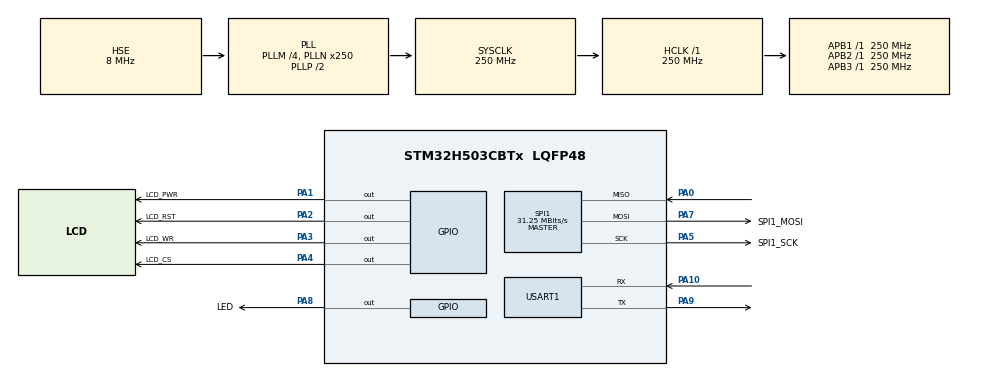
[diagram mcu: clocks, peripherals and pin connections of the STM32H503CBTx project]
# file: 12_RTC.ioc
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BOOTPATH.BootPathName=LEGACY
BOOTPATH.UserSelectedBootPath=LEGACY
Mcu.Family=STM32H5
Mcu.Name=STM32H503CBTx
Mcu.Package=LQFP48
NVIC.PriorityGroup=NVIC_PRIORITYGROUP_2
NVIC.RTC_IRQn=true\:2\:2\:true\:false\:true\:true\:true\:true
NVIC.TIM2_IRQn=true\:2\:1\:true\:false\:true\:true\:true\:true
NVIC.USART1_IRQn=true\:2\:2\:true\:false\:true\:true\:true\:true
PA0.Mode=Full_Duplex_Master
PA0.Signal=SPI1_MISO
PA1.GPIO_Label=LCD_PWR
PA1.GPIO_PuPd=GPIO_PULLUP
PA1.GPIO_Speed=GPIO_SPEED_FREQ_HIGH
PA1.PinState=GPIO_PIN_SET
PA1.Signal=GPIO_Output
PA10.GPIO_PuPd=GPIO_NOPULL
PA10.Mode=Asynchronous
PA10.Signal=USART1_RX
PA2.GPIO_Label=LCD_RST
PA2.GPIO_PuPd=GPIO_PULLUP
PA2.GPIO_Speed=GPIO_SPEED_FREQ_HIGH
PA2.PinState=GPIO_PIN_SET
PA2.Signal=GPIO_Output
PA3.GPIO_Label=LCD_WR
PA3.GPIO_ModeDefaultOutputPP=GPIO_MODE_OUTPUT_PP
PA3.GPIO_PuPd=GPIO_PULLUP
PA3.GPIO_Speed=GPIO_SPEED_FREQ_HIGH
PA3.PinState=GPIO_PIN_SET
PA3.Signal=GPIO_Output
PA4.GPIO_Label=LCD_CS
PA4.GPIO_PuPd=GPIO_PULLUP
PA4.GPIO_Speed=GPIO_SPEED_FREQ_HIGH
PA4.PinState=GPIO_PIN_SET
PA4.Signal=GPIO_Output
PA5.GPIO_Label=SPI1_SCK
PA5.GPIO_PuPd=GPIO_PULLUP
PA5.GPIO_Speed=GPIO_SPEED_FREQ_VERY_HIGH
PA5.Mode=Full_Duplex_Master
PA5.Signal=SPI1_SCK
PA7.GPIO_Label=SPI1_MOSI
PA7.GPIO_PuPd=GPIO_PULLUP
PA7.GPIO_Speed=GPIO_SPEED_FREQ_VERY_HIGH
PA7.Mode=Full_Duplex_Master
PA7.Signal=SPI1_MOSI
PA8.GPIO_Label=LED
PA8.GPIO_ModeDefaultOutputPP=GPIO_MODE_OUTPUT_PP
PA8.GPIO_PuPd=GPIO_PULLUP
PA8.PinState=GPIO_PIN_SET
PA8.Signal=GPIO_Output
PA9.GPIO_Speed=GPIO_SPEED_FREQ_HIGH
PA9.Mode=Asynchronous
PA9.Signal=USART1_TX
PC14-OSC32_IN(OSC32_IN).Mode=LSE-External-Oscillator
PC14-OSC32_IN(OSC32_IN).Signal=RCC_OSC32_IN
PC15-OSC32_OUT(OSC32_OUT).Mode=LSE-External-Oscillator
PC15-OSC32_OUT(OSC32_OUT).Signal=RCC_OSC32_OUT
PH0-OSC_IN(PH0).Mode=HSE-External-Oscillator
PH0-OSC_IN(PH0).Signal=RCC_OSC_IN
PH1-OSC_OUT(PH1).Mode=HSE-External-Oscillator
PH1-OSC_OUT(PH1).Signal=RCC_OSC_OUT
ProjectManager.HeapSize=0x200
ProjectManager.StackSize=0x400
ProjectManager.TargetToolchain=STM32CubeIDE
RCC.ADCFreq_Value=250000000
RCC.AHBFreq_Value=250000000
RCC.APB1Freq_Value=250000000
RCC.APB1TimFreq_Value=250000000
RCC.APB2Freq_Value=250000000
RCC.APB2TimFreq_Value=250000000
RCC.APB3Freq_Value=250000000
RCC.CSI_VALUE=4000000
RCC.CortexFreq_Value=250000000
RCC.EPOD_VALUE=8000000
RCC.HCLKFreq_Value=250000000
RCC.HSE_VALUE=8000000
RCC.HSI48_VALUE=48000000
RCC.HSI_VALUE=64000000
RCC.LSIRC_VALUE=32000
RCC.PLLM=4
RCC.PLLN=250
RCC.PLLSourceVirtual=RCC_PLL1_SOURCE_HSE
RCC.RTCClockSelection=RCC_RTCCLKSOURCE_LSE
RCC.SYSCLKFreq_VALUE=250000000
RCC.SYSCLKSource=RCC_SYSCLKSOURCE_PLLCLK
RCC.USBFreq_Value=48000000
RCC.VCOOutputFreq_Value=500000000
RTC.Alarm-Alarm\ A=RTC_ALARM_A
RTC.Date=24
RTC.Hours=9
RTC.Month=RTC_MONTH_FEBRUARY
RTC.RTC_PRIVILEGE_FEATURE_ALRA=__NULL
RTC.RTC_PRIVILEGE_FEATURE_WUT=__NULL
RTC.WeekDay=RTC_WEEKDAY_WEDNESDAY
RTC.Year=24
SPI1.BaudRatePrescaler=SPI_BAUDRATEPRESCALER_8
SPI1.CalculateBaudRate=31.25 MBits/s
SPI1.DataSize=SPI_DATASIZE_8BIT
SPI1.Direction=SPI_DIRECTION_2LINES
SPI1.Mode=SPI_MODE_MASTER
SPI1.VirtualType=VM_MASTER
TIM2.AutoReloadPreload=TIM_AUTORELOAD_PRELOAD_ENABLE
TIM2.PeriodNoDither=1000-1
TIM2.Prescaler=25000-1
USART1.VirtualMode=VM_ASYNC
VP_BOOTPATH_VS_BOOTPATH.Mode=BP_Activate
VP_ICACHE_VS_ICACHE.Mode=DefaultMode
VP_MEMORYMAP_VS_MEMORYMAP.Mode=CurAppReg
VP_PWR_VS_DBSignals.Mode=DisableDeadBatterySignals
VP_PWR_VS_LPOM.Mode=PowerOptimisation
VP_PWR_VS_SECSignals.Mode=Security/Privilege
VP_RTC_VS_RTC_Activate.Mode=RTC_Enabled
VP_RTC_VS_RTC_Alarm_A_Intern.Mode=Alarm A
VP_RTC_VS_RTC_Calendar.Mode=RTC_Calendar
VP_TIM2_VS_ClockSourceINT.Mode=Internal
board=custom

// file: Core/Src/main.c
/**
 ****************************************************************************************************
 * @file        main.c
 * @author      ALIENTEK
 * @brief       RTC code
 * @license     Copyright (C) 2012-2024, ALIENTEK
 ****************************************************************************************************
 * @attention
 *
 * platform     : ALIENTEK M48-STM32H503 board
 * website      : www.alientek.com
 * forum        : www.openedv.com/forum.php
 *
 * change logs  ：
 * version      data         notes
 * V1.0         20240309     the first version
 *
 ****************************************************************************************************
 */

/* USER CODE BEGIN Header */

/* USER CODE END Header */
#include "main.h"
#include "icache.h"
#include "memorymap.h"
#include "rtc.h"
#include "spi.h"
#include "tim.h"
#include "usart.h"
#include "gpio.h"

/* USER CODE BEGIN Includes */
#include "stdio.h"
#include "../../BSP/LED/led.h"
#include "../../BSP/LCD/lcd.h"
#include "../../ATK_Middlewares/USMART/usmart.h"
/* USER CODE END Includes */

void SystemClock_Config(void);

/* USER CODE BEGIN 0 */
/**
 * @brief   Displays information about the experiment
 * @param   None
 * @retval  None
 */
void stm32h503cb_show_mesg(void)
{
	/* The serial port outputs the experimental information */
	printf("\n");
	printf("********************************\r\n");
	printf("STM32H503\r\n");
	printf("RTC Test\r\n");
	printf("ATOM@ALIENTEK\r\n");
	printf("********************************\r\n");
	printf("\r\n");
}

/* USER CODE END 0 */

int main(void)
{
  /* USER CODE BEGIN 1 */
  uint8_t hour, min, sec, ampm;
  uint8_t year, month, date, week;
  uint8_t tbuf[40];
  uint8_t t = 0;
  /* USER CODE END 1 */

  /* MCU Configuration--------------------------------------------------------*/

  /* Reset of all peripherals, Initializes the Flash interface and the Systick. */
  HAL_Init();

  /* Configure the system clock */
  SystemClock_Config();

  /* Initialize all configured peripherals */
  MX_GPIO_Init();
  MX_ICACHE_Init();
  MX_SPI1_Init();
  MX_USART1_UART_Init();
  MX_RTC_Init();
  MX_TIM2_Init();
  /* USER CODE BEGIN 2 */
  stm32h503cb_show_mesg();
  lcd_init();                        	/* Initialize LCD */
  lcd_show_string(30, 50, 200, 16, 16, "STM32", RED);
  lcd_show_string(30, 70, 200, 16, 16, "RTC TEST", RED);
  lcd_show_string(30, 90, 200, 16, 16, "ATOM@ALIENTEK", RED);
  /* USER CODE END 2 */

  /* Infinite loop */
  /* USER CODE BEGIN WHILE */
  while (1)
  {
	  t++;

	  if ((t % 10) == 0)       /* The display data is updated every 100ms */
	  {
		  rtc_get_time(&hour, &min, &sec, &ampm);
		  sprintf((char *)tbuf, "Time:%02d:%02d:%02d", hour, min, sec);
		  printf("%s\r\n",tbuf);
		  lcd_show_string(30, 130, 210, 16, 16, (char *)tbuf, RED);

		  rtc_get_date(&year, &month, &date, &week);
		  sprintf((char *)tbuf, "Date:20%02d-%02d-%02d", year, month, date);
		  printf("%s\r\n",tbuf);
		  lcd_show_string(30, 150, 210, 16, 16, (char *)tbuf, RED);
		  sprintf((char *)tbuf, "Week:%d", week);
		  printf("%s\r\n",tbuf);
		  lcd_show_string(30, 170, 210, 16, 16, (char *)tbuf, RED);
	  }
	  HAL_Delay(100);
    /* USER CODE END WHILE */

  }
}

void SystemClock_Config(void)
{
  RCC_OscInitTypeDef RCC_OscInitStruct = {0};
  RCC_ClkInitTypeDef RCC_ClkInitStruct = {0};

  /** Configure the main internal regulator output voltage
  */
  __HAL_PWR_VOLTAGESCALING_CONFIG(PWR_REGULATOR_VOLTAGE_SCALE0);

  while(!__HAL_PWR_GET_FLAG(PWR_FLAG_VOSRDY)) {}

  /** Configure LSE Drive Capability
  */
  HAL_PWR_EnableBkUpAccess();
  __HAL_RCC_LSEDRIVE_CONFIG(RCC_LSEDRIVE_LOW);

  /** Initializes the RCC Oscillators according to the specified parameters
  * in the RCC_OscInitTypeDef structure.
  */
  RCC_OscInitStruct.OscillatorType = RCC_OSCILLATORTYPE_HSE|RCC_OSCILLATORTYPE_LSE;
  RCC_OscInitStruct.HSEState = RCC_HSE_ON;
  RCC_OscInitStruct.LSEState = RCC_LSE_ON;
  RCC_OscInitStruct.PLL.PLLState = RCC_PLL_ON;
  RCC_OscInitStruct.PLL.PLLSource = RCC_PLL1_SOURCE_HSE;
  RCC_OscInitStruct.PLL.PLLM = 4;
  RCC_OscInitStruct.PLL.PLLN = 250;
  RCC_OscInitStruct.PLL.PLLP = 2;
  RCC_OscInitStruct.PLL.PLLQ = 2;
  RCC_OscInitStruct.PLL.PLLR = 2;
  RCC_OscInitStruct.PLL.PLLRGE = RCC_PLL1_VCIRANGE_1;
  RCC_OscInitStruct.PLL.PLLVCOSEL = RCC_PLL1_VCORANGE_WIDE;
  RCC_OscInitStruct.PLL.PLLFRACN = 0;
  if (HAL_RCC_OscConfig(&RCC_OscInitStruct) != HAL_OK)
  {
    Error_Handler();
  }

  /** Initializes the CPU, AHB and APB buses clocks
  */
  RCC_ClkInitStruct.ClockType = RCC_CLOCKTYPE_HCLK|RCC_CLOCKTYPE_SYSCLK
                              |RCC_CLOCKTYPE_PCLK1|RCC_CLOCKTYPE_PCLK2
                              |RCC_CLOCKTYPE_PCLK3;
  RCC_ClkInitStruct.SYSCLKSource = RCC_SYSCLKSOURCE_PLLCLK;
  RCC_ClkInitStruct.AHBCLKDivider = RCC_SYSCLK_DIV1;
  RCC_ClkInitStruct.APB1CLKDivider = RCC_HCLK_DIV1;
  RCC_ClkInitStruct.APB2CLKDivider = RCC_HCLK_DIV1;
  RCC_ClkInitStruct.APB3CLKDivider = RCC_HCLK_DIV1;

  if (HAL_RCC_ClockConfig(&RCC_ClkInitStruct, FLASH_LATENCY_5) != HAL_OK)
  {
    Error_Handler();
  }
}

void Error_Handler(void)
{
  __disable_irq();
  while (1)
  {
  }
}
